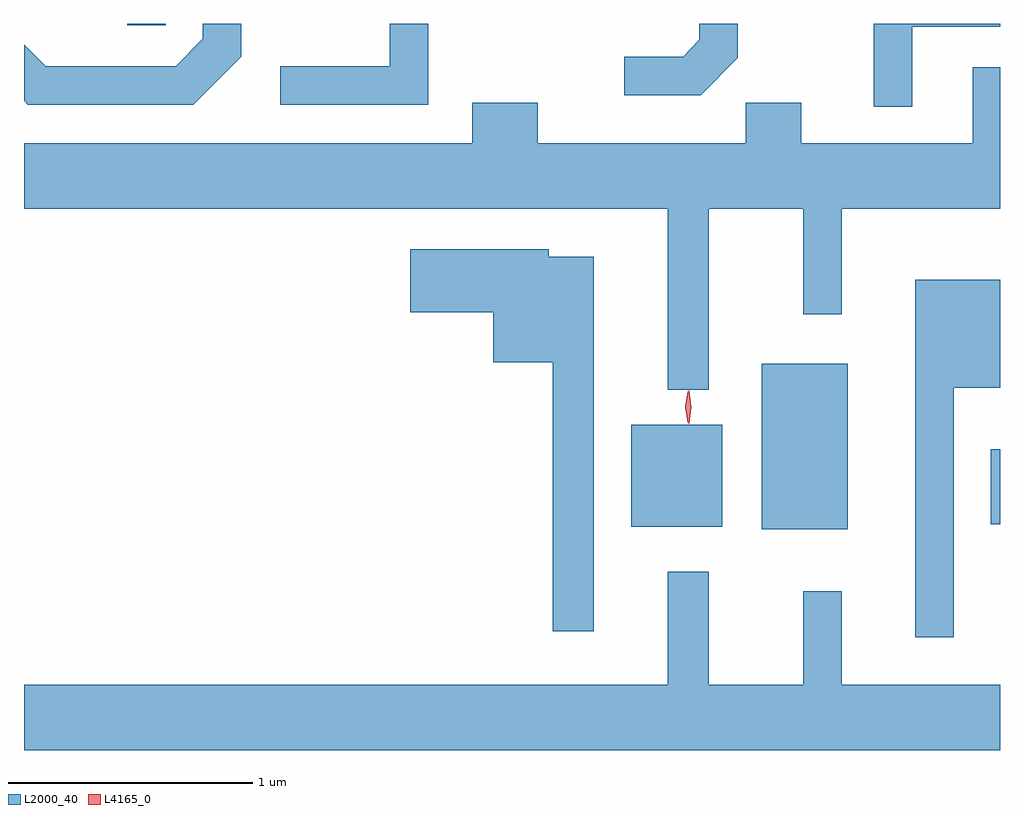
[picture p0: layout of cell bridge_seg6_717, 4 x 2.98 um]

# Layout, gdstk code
import gdstk
lib = gdstk.Library(unit=1e-6, precision=1e-09)
def R(c, l, rs):  # rectangles x0, y0, x1, y1
    for r in rs: c.add(gdstk.rectangle(r[:2], r[2:], *l))
def P(c, l, *ps):  # polygons
    for p in ps: c.add(gdstk.Polygon(p, *l))
L2000_40 = (2000, 40)
L4165_0 = (4165, 0)

bridge_seg6_717 = lib.new_cell('bridge_seg6_717')
R(bridge_seg6_717, L2000_40, [(412.496,1575.361,412.849,1576.039), (411.961,1575.371,412.334,1575.789), (413.436,1575.381,413.473,1575.689), (409.896,1577.428,410.054,1577.433)])
P(bridge_seg6_717, L2000_40, [(410.364,1577.299),(410.364,1577.433),(410.206,1577.433),(410.206,1577.372),(410.094,1577.259),(409.562,1577.259),(409.473,1577.348),(409.473,1577.117),(409.489,1577.101),(410.167,1577.101)],
  [(413.114,1577.421),(413.473,1577.421),(413.473,1577.433),(412.956,1577.433),(412.956,1577.093),(413.114,1577.093)],
  [(411.129,1577.433),(410.971,1577.433),(410.971,1577.259),(410.523,1577.259),(410.523,1577.101),(411.129,1577.101)],
  [(412.399,1577.294),(412.399,1577.433),(412.241,1577.433),(412.241,1577.367),(412.174,1577.299),(411.933,1577.299),(411.933,1577.141),(412.247,1577.141)],
  [(412.279,1576.676),(412.666,1576.676),(412.666,1576.243),(412.824,1576.243),(412.824,1576.676),(413.473,1576.676),(413.473,1577.254),(413.361,1577.254),(413.361,1576.944),(412.659,1576.944),(412.659,1577.109),(412.431,1577.109),(412.431,1576.944),(411.579,1576.944),(411.579,1577.109),(411.311,1577.109),(411.311,1576.944),(409.473,1576.944),(409.473,1576.676),(412.111,1576.676),(412.111,1575.933),(412.279,1575.933)],
  [(411.809,1576.479),(411.624,1576.479),(411.624,1576.509),(411.056,1576.509),(411.056,1576.251),(411.396,1576.251),(411.396,1576.046),(411.641,1576.046),(411.641,1574.943),(411.809,1574.943)],
  [(413.284,1575.941),(413.473,1575.941),(413.473,1576.384),(413.126,1576.384),(413.126,1574.918),(413.284,1574.918)],
  [(413.473,1574.724),(412.824,1574.724),(412.824,1575.108),(412.666,1575.108),(412.666,1574.724),(412.279,1574.724),(412.279,1575.188),(412.111,1575.188),(412.111,1574.724),(409.473,1574.724),(409.473,1574.456),(413.473,1574.456)])
P(bridge_seg6_717, L4165_0, [(412.198,1575.794),(412.198,1575.794),(412.188,1575.862),(412.198,1575.93),(412.198,1575.93),(412.199,1575.93),(412.208,1575.862),(412.199,1575.794)],
  [(412.193,1575.798),(412.193,1575.799),(412.183,1575.863),(412.193,1575.927),(412.193,1575.927),(412.194,1575.927),(412.203,1575.863),(412.194,1575.799)])

lib.write_gds('bridge_seg6_717.gds')
